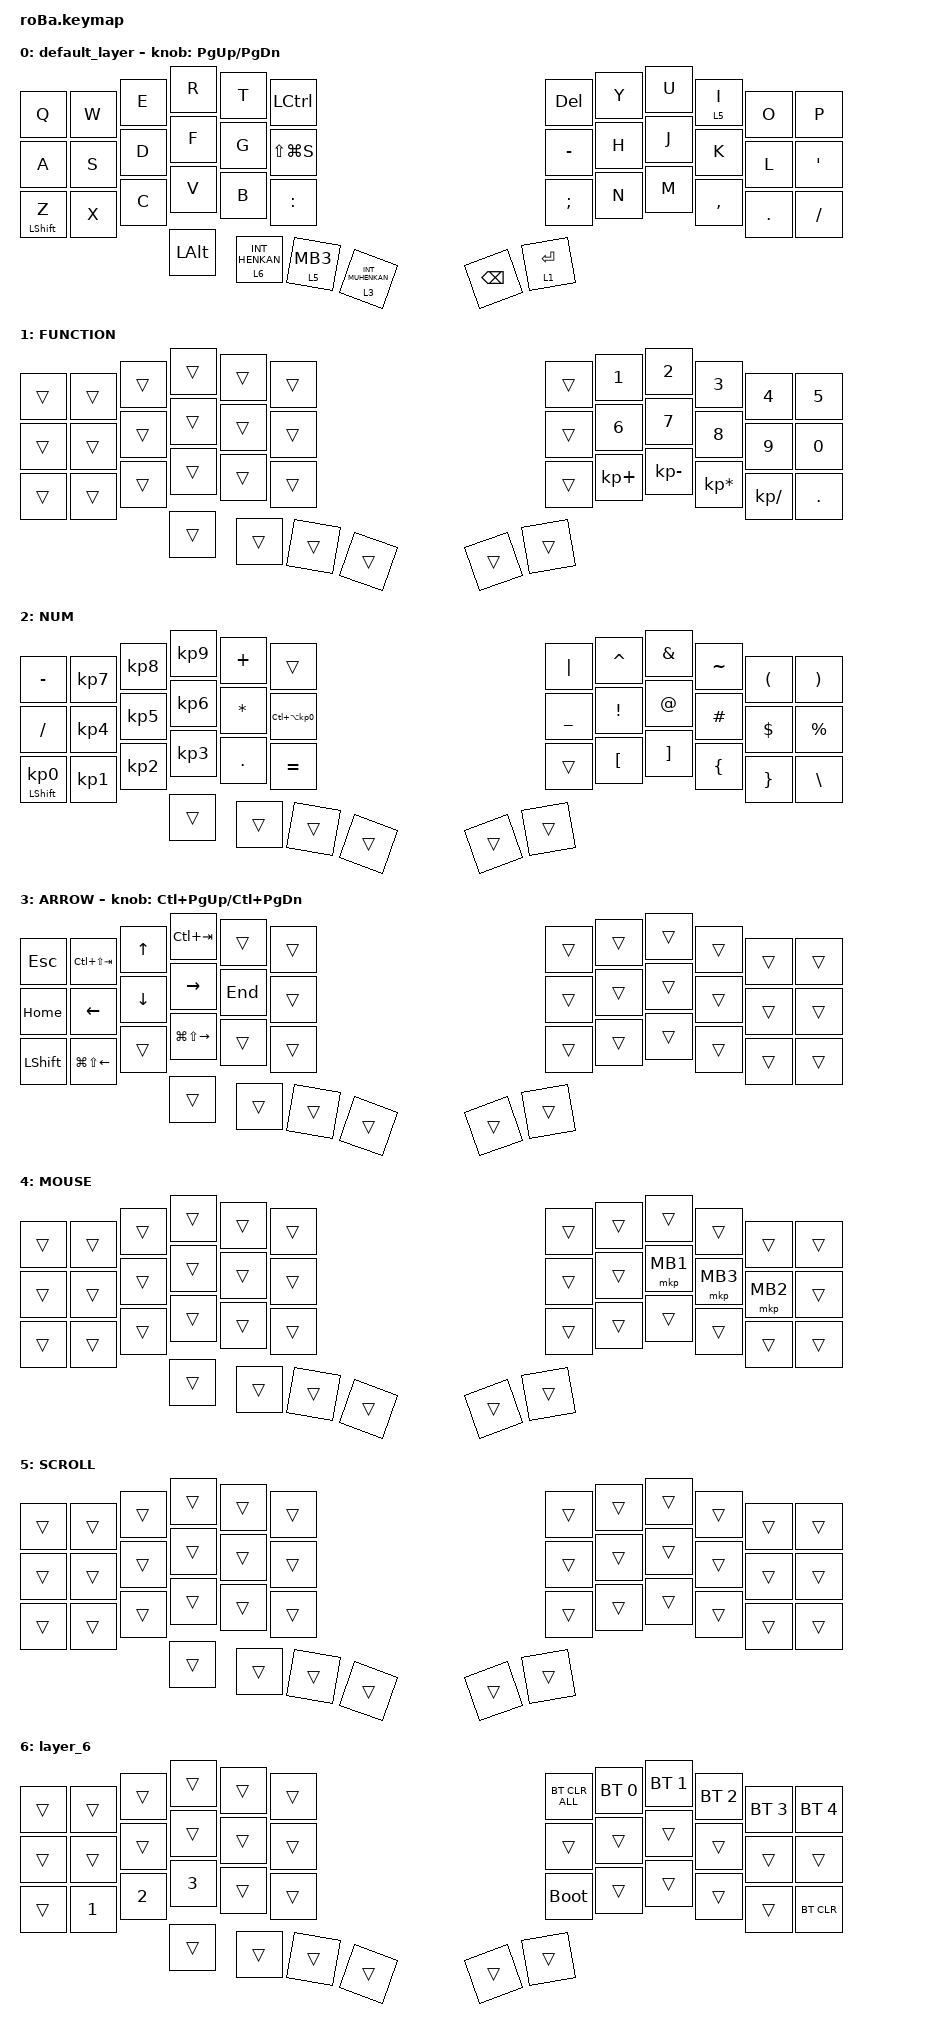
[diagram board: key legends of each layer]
#include <behaviors.dtsi>
#include <dt-bindings/zmk/bt.h>
#include <dt-bindings/zmk/keys.h>
#include <dt-bindings/zmk/pointing.h>

&mt {
    flavor = "balanced";
    quick-tap-ms = <0>;
};

&trackball {
    automouse-layer = <4>;
    scroll-layers = <5 6>;

    // arrows {
    //     layers = <3>;
    //     bindings =
    //         <&kp RIGHT_ARROW>,
    //         <&kp LEFT_ARROW>,
    //         <&kp UP_ARROW>,
    //         <&kp DOWN_ARROW>;

    //     tick = <10>;
    //     wait-ms = <5>;
    //     tap-ms = <5>;
    // };
};

/ {
    combos {
        compatible = "zmk,combos";

        tab {
            bindings = <&kp TAB>;
            key-positions = <13 14>;
        };

        shift_tab {
            bindings = <&kp LS(TAB)>;
            key-positions = <14 15>;
        };

        muhennkann {
            bindings = <&to_layer_0 INT_MUHENKAN>;
            key-positions = <13 12>;
        };

        double_quotation {
            bindings = <&kp DOUBLE_QUOTES>;
            key-positions = <22 23>;
        };

        eq {
            bindings = <&kp EQUAL>;
            key-positions = <26 27>;
        };
    };

    macros {
        to_layer_0: to_layer_0 {
            compatible = "zmk,behavior-macro-one-param";
            #binding-cells = <1>;
            bindings = <&to 0 &macro_param_1to1 &kp MACRO_PLACEHOLDER>;
            label = "TO_LAYER_0";
        };
    };

    behaviors {
        lt_to_layer_0: lt_to_layer_0 {
            compatible = "zmk,behavior-hold-tap";
            label = "LAYER_TAP_TO_0";
            bindings = <&mo>, <&to_layer_0>;

            #binding-cells = <2>;
            tapping-term-ms = <200>;
        };

        lt_mkp: lt_mkp {
            compatible = "zmk,behavior-hold-tap";
            display-name = "Layer-Tap Mouse";
            bindings = <&mo>, <&mkp>;

            #binding-cells = <2>;
            flavor = "tap-preferred";
            tapping-term-ms = <200>;
        };
    };

    keymap {
        compatible = "zmk,keymap";

        default_layer {
            bindings = <
&kp Q             &kp W  &kp E         &kp R                        &kp T        &kp LCTRL                          &kp DEL        &kp Y        &kp U  &lt 5 I    &kp O    &kp P
&kp A             &kp S  &kp D         &kp F                        &kp G        &kp LS(LG(S))                      &kp MINUS      &kp H        &kp J  &kp K      &kp L    &kp SQT
&mt LEFT_SHIFT Z  &kp X  &kp C         &kp V                        &kp B        &kp COLON                          &kp SEMICOLON  &kp N        &kp M  &kp COMMA  &kp DOT  &kp SLASH
                         &kp LEFT_ALT  &lt_to_layer_0 6 INT_HENKAN  &lt_mkp 5 MB3  &lt_to_layer_0 3 INT_MUHENKAN      &kp BACKSPACE  &lt 1 ENTER
            >;

            sensor-bindings = <&inc_dec_kp PG_UP PAGE_DOWN>;
        };

        FUNCTION {
            bindings = <
&trans  &trans  &trans  &trans  &trans  &trans      &trans  &kp N1       &kp N2        &kp N3           &kp N4         &kp N5
&trans  &trans  &trans  &trans  &trans  &trans      &trans  &kp N6       &kp N7        &kp N8           &kp N9         &kp N0
&trans  &trans  &trans  &trans  &trans  &trans      &trans  &kp KP_PLUS  &kp KP_MINUS  &kp KP_MULTIPLY  &kp KP_DIVIDE  &kp DOT
                &trans  &trans  &trans  &trans      &trans   &trans
            >;
        };

        NUM {
            bindings = <
&kp MINUS                   &kp KP_NUMBER_7  &kp KP_NUMBER_8  &kp KP_NUMBER_9  &kp PLUS      &trans                       &kp PIPE        &kp CARET         &kp AMPERSAND      &kp TILDE       &kp LEFT_PARENTHESIS  &kp RIGHT_PARENTHESIS
&kp SLASH                   &kp KP_NUMBER_4  &kp KP_NUMBER_5  &kp KP_NUMBER_6  &kp ASTERISK  &kp LC(LA(KP_NUMBER_0))      &kp UNDERSCORE  &kp EXCLAMATION   &kp AT_SIGN        &kp HASH        &kp DOLLAR            &kp PERCENT
&mt LEFT_SHIFT KP_NUMBER_0  &kp KP_NUMBER_1  &kp KP_NUMBER_2  &kp KP_NUMBER_3  &kp PERIOD    &kp EQUAL                    &trans          &kp LEFT_BRACKET  &kp RIGHT_BRACKET  &kp LEFT_BRACE  &kp RIGHT_BRACE       &kp BACKSLASH
                                             &trans           &trans           &trans        &trans                       &trans          &trans
            >;
        };

        ARROW {
            bindings = <
&kp ESCAPE      &kp LC(LS(TAB))         &kp UP_ARROW    &kp LC(TAB)              &trans   &trans      &trans  &trans  &trans  &trans  &trans  &trans
&kp HOME        &kp LEFT_ARROW          &kp DOWN_ARROW  &kp RIGHT_ARROW          &kp END  &trans      &trans  &trans  &trans  &trans  &trans  &trans
&kp LEFT_SHIFT  &kp LG(LS(LEFT_ARROW))  &trans          &kp LG(LS(RIGHT_ARROW))  &trans   &trans      &trans  &trans  &trans  &trans  &trans  &trans
                                        &trans          &trans                   &trans   &trans      &trans  &trans
            >;

            sensor-bindings = <&inc_dec_kp LC(PAGE_UP) LC(PAGE_DOWN)>;
        };

        MOUSE {
            bindings = <
&trans  &trans  &trans  &trans  &trans  &trans      &trans  &trans  &trans    &trans    &trans    &trans
&trans  &trans  &trans  &trans  &trans  &trans      &trans  &trans  &mkp MB1  &mkp MB3  &mkp MB2  &trans
&trans  &trans  &trans  &trans  &trans  &trans      &trans  &trans  &trans    &trans    &trans    &trans
                &trans  &trans  &trans  &trans      &trans  &trans
            >;
        };

        SCROLL {
            bindings = <
&trans  &trans  &trans  &trans  &trans  &trans      &trans  &trans  &trans  &trans  &trans  &trans
&trans  &trans  &trans  &trans  &trans  &trans      &trans  &trans  &trans  &trans  &trans  &trans
&trans  &trans  &trans  &trans  &trans  &trans      &trans  &trans  &trans  &trans  &trans  &trans
                &trans  &trans  &trans  &trans      &trans  &trans
            >;
        };

        layer_6 {
            bindings = <
&trans  &trans        &trans        &trans        &trans  &trans      &bt BT_CLR_ALL  &bt BT_SEL 0  &bt BT_SEL 1  &bt BT_SEL 2  &bt BT_SEL 3  &bt BT_SEL 4
&trans  &trans        &trans        &trans        &trans  &trans      &trans          &trans        &trans        &trans        &trans        &trans
&trans  &kp NUMBER_1  &kp NUMBER_2  &kp NUMBER_3  &trans  &trans      &bootloader     &trans        &trans        &trans        &trans        &bt BT_CLR
                      &trans        &trans        &trans  &trans      &trans          &trans
            >;
        };
    };
};
